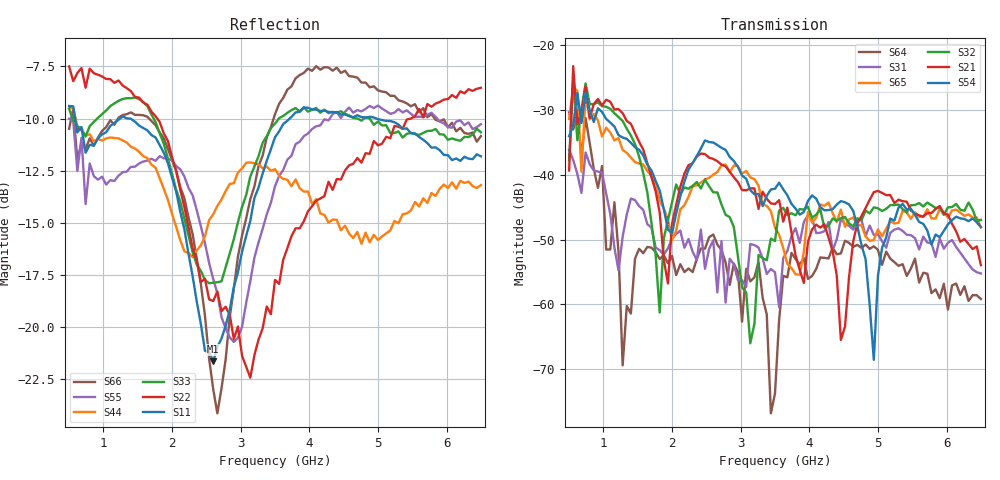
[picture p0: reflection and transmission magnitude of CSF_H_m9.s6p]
!Keysight Technologies,M9804A,MY58100912,A.14.10.03
!Date: Thursday, April 27, 2023 10:28:33
!Correction: S11(C  6-Port  )
!S12(C  6-Port  )
!S13(C  6-Port  )
!S14(C  6-Port  )
!S15(C  6-Port  )
!S16(C  6-Port  )
!S21(C  6-Port  )
!S22(C  6-Port  )
!S23(C  6-Port  )
!S24(C  6-Port  )
!S25(C  6-Port  )
!S26(C  6-Port  )
!S31(C  6-Port  )
!S32(C  6-Port  )
!S33(C  6-Port  )
!S34(C  6-Port  )
!S35(C  6-Port  )
!S36(C  6-Port  )
!S41(C  6-Port  )
!S42(C  6-Port  )
!S43(C  6-Port  )
!S44(C  6-Port  )
!S45(C  6-Port  )
!S46(C  6-Port  )
!S51(C  6-Port  )
!S52(C  6-Port  )
!S53(C  6-Port  )
!S54(C  6-Port  )
!S55(C  6-Port  )
!S56(C  6-Port  )
!S61(C  6-Port  )
!S62(C  6-Port  )
!S63(C  6-Port  )
!S64(C  6-Port  )
!S65(C  6-Port  )
!S66(C  6-Port  )
!S6P File: Measurement: :
# Hz S  RI  R 50
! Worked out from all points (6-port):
!   101 points, 500 MHz to 6.5 GHz, reference 50 ohm
!   strongest paths, dB at 500 MHz, 2 GHz, 3.5 GHz, 5 GHz, 6.5 GHz:
!     S54: -34.1, -49.0, -42.2, -55.6, -48.1
!     S21: -39.3, -47.5, -44.5, -42.5, -53.9
!     S32: -37.8, -44.2, -50.2, -45.2, -47.0
!     S65: -31.4, -50.0, -48.1, -48.4, -48.1
!     S31: -36.1, -49.8, -55.0, -49.2, -55.2
!     S64: -30.4, -52.5, -73.7, -51.6, -59.2
!   lowest |S11| = -21.7 dB at 2.6 GHz (marker M1), VSWR 1.18, Z = 42.6 + j1.99 ohm
!   |S11| at or under -10 dB: 588 MHz to 1.243 GHz (655 MHz wide, 71.6 % of centre); 1.368 GHz to 3.714 GHz (2.346 GHz wide, 92.3 % of centre); 4.977 GHz to end of sweep
